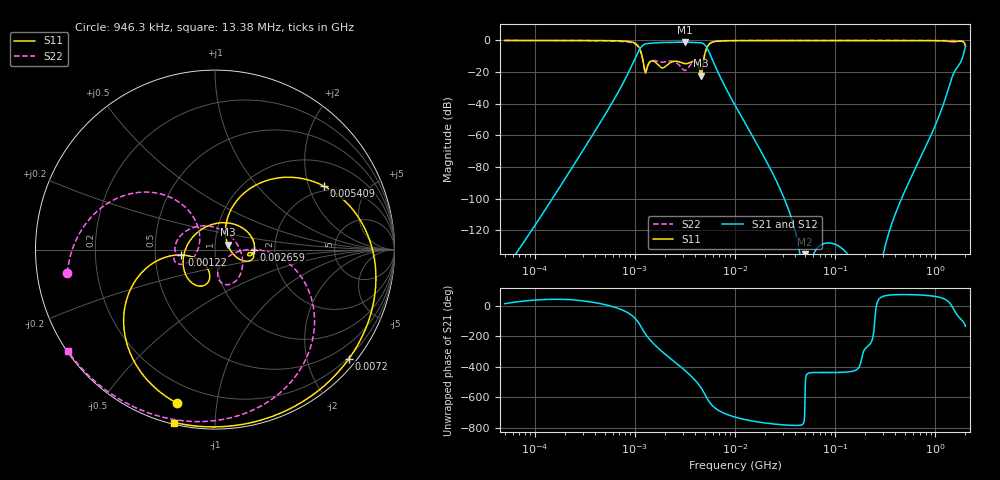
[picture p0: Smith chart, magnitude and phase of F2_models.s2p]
! Created with skrf 2.2.0 (http://scikit-rf.org).
# MHz S RI R 50.0
! Port[1] = P1
! Port[2] = P2
!freq ReS11 ImS11 ReS21 ImS21 ReS12 ImS12 ReS22 ImS22
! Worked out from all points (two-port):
!   2001 points, 50 kHz to 2 GHz, reference 50 ohm
!   highest |S21| = -1.08 dB at 3.134 MHz (marker M1); lowest = -188.5 dB at 50.06 MHz (marker M2)
!   |S21| within 3 dB of the highest: 1.16 MHz to 5.177 MHz (4.017 MHz wide, 127 % of centre); 1.993827 GHz to end of sweep
!   lowest |S11| = -22.3 dB at 4.589 MHz (marker M3), VSWR 1.17, Z = 57.5 + j3.25 ohm
!   |S11| at or under -10 dB: 1.182 MHz to 4.937 MHz (3.755 MHz wide, 123 % of centre)
!   |S22| runs from -22.1 to 0.0 dB; largest |S21 - S12| = 2.5e-15
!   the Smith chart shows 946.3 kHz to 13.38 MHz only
!   S11 on the Smith chart (normalised r, x): 946.3 kHz: 0.10, -0.77; 1.22 MHz: 0.68, -0.04; 2.659 MHz: 1.56, -0.01; 5.409 MHz: 1.80, +2.52; 7.2 MHz: 0.17, -2.81; 13.38 MHz: 0.01, -0.79
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0.05  0.9975 -0.0691  5.54e-08 1.45e-08  5.54e-08 1.45e-08  0.9856 -0.1668
0.2934364  0.913 -0.4019  0.000235 0.00016  0.000235 0.00016  0.5664 -0.8132
0.5968319  0.6023 -0.7777  0.0112 -0.000796  0.0112 -0.000796  -0.2809 -0.9153
0.9463279  -0.2145 -0.8539  0.0738 -0.1627  0.0738 -0.1627  -0.8229 -0.1298
1.220369  -0.1871 -0.0297  -0.7001 -0.1964  -0.7001 -0.1964  -0.0996 0.1388
1.712999  -0.1671 -0.00552  0.1098 0.8441  0.1098 0.8441  -0.2131 -0.0305
2.659148  0.2184 -0.00233  0.8126 -0.3264  0.8126 -0.3264  -0.1507 0.1099
3.133823  0.1835 -0.0316  0.4243 -0.7741  0.4243 -0.7741  0.0533 0.0997
4.589323  0.071 0.028  -0.8412 -0.0255  -0.8412 -0.0255  0.0532 -0.0572
5.408546  0.6054 0.355  -0.083 0.4778  -0.083 0.4778  0.5523 -0.4468
7.20006  0.7467 -0.6071  0.0586 0.0287  0.0586 0.0287  -0.2221 -0.9477
10  0.1954 -0.9654  0.0089 -0.00153  0.0089 -0.00153  -0.6535 -0.7471
13.3831  -0.2269 -0.9634  0.00153 -0.000878  0.00153 -0.000878  -0.8183 -0.5676
22.37467  -0.6844 -0.7176  5.58e-05 -7.29e-05  5.58e-05 -7.29e-05  -0.9375 -0.3406
50.06257  -0.9333 -0.3362  -2.45e-10 2.83e-10  -2.45e-10 2.83e-10  -0.9869 -0.1476
58.68728  -0.9513 -0.2811  2.76e-08 -1.3e-07  2.76e-08 -1.3e-07  -0.9901 -0.124
342.5997  -0.9846 0.1182  2.65e-07 7.54e-07  2.65e-07 7.54e-07  -0.9977 0.0204
653.902  -0.9338 0.3282  3.3e-05 0.000107  3.3e-05 0.000107  -0.9952 0.0725
1302.107  -0.0473 0.9534  0.0159 0.0121  0.0159 0.0121  -0.9783 0.1904
1486.525  0.9046 0.0605  0.0741 -0.0101  0.0741 -0.0101  -0.9633 0.2408
1661.476  -0.1696 -0.9229  0.069 -0.1221  0.069 -0.1221  -0.9355 0.3048
2000  -0.6147 0.2357  -0.4546 -0.4697  -0.4546 -0.4697  -0.4142 0.5325
